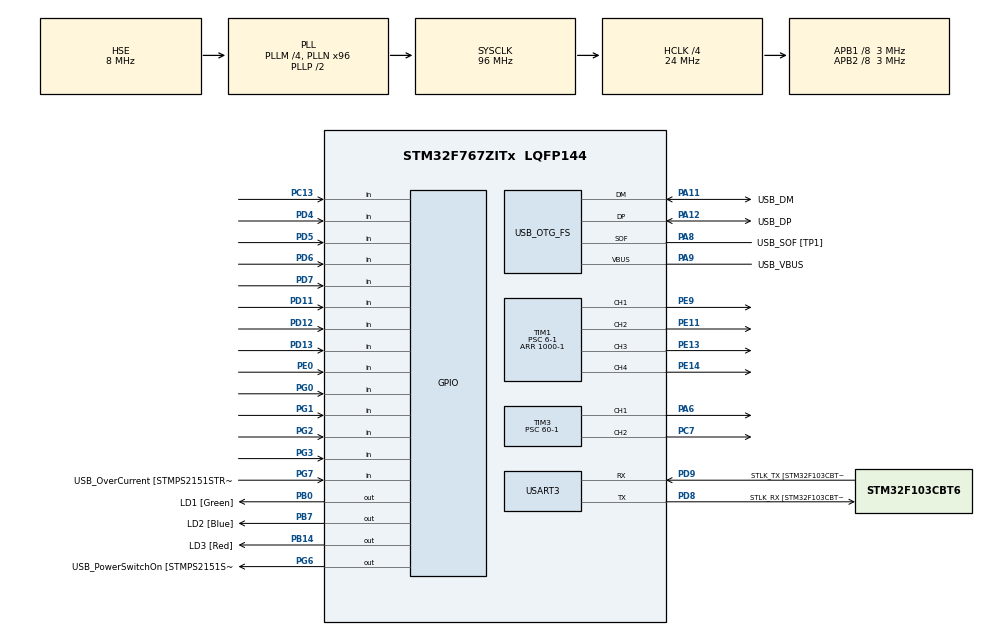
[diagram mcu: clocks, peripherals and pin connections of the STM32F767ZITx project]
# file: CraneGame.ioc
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FREERTOS.Tasks01=defaultTask,0,128,StartDefaultTask,Default,NULL,Dynamic,NULL,NULL
Mcu.Family=STM32F7
Mcu.Name=STM32F767ZITx
Mcu.Package=LQFP144
NVIC.PriorityGroup=NVIC_PRIORITYGROUP_4
NVIC.TIM8_TRG_COM_TIM14_IRQn=true\:15\:0\:false\:false\:true\:false\:false\:true\:true
NVIC.TimeBase=TIM8_TRG_COM_TIM14_IRQn
NVIC.TimeBaseIP=TIM14
PA1.GPIO_Label=RMII_REF_CLK [LAN8742A-CZ-TR_REFCLK0]
PA1.Signal=ETH_REF_CLK
PA10.GPIO_Label=USB_ID
PA10.Signal=USB_OTG_FS_ID
PA11.GPIO_Label=USB_DM
PA11.Mode=Device_Only
PA11.Signal=USB_OTG_FS_DM
PA12.GPIO_Label=USB_DP
PA12.Mode=Device_Only
PA12.Signal=USB_OTG_FS_DP
PA13.GPIO_Label=TMS
PA13.Mode=Serial_Wire
PA13.Signal=SYS_JTMS-SWDIO
PA14.GPIO_Label=TCK
PA14.Mode=Serial_Wire
PA14.Signal=SYS_JTCK-SWCLK
PA2.GPIO_Label=RMII_MDIO [LAN8742A-CZ-TR_MDIO]
PA2.Signal=ETH_MDIO
PA6.Signal=S_TIM3_CH1
PA7.GPIO_Label=RMII_CRS_DV [LAN8742A-CZ-TR_CRS_DV]
PA7.Signal=ETH_CRS_DV
PA8.GPIO_Label=USB_SOF [TP1]
PA8.Mode=Activate_SOF_FS
PA8.Signal=USB_OTG_FS_SOF
PA9.GPIO_Label=USB_VBUS
PA9.Mode=Activate_VBUS
PA9.Signal=USB_OTG_FS_VBUS
PB0.GPIO_Label=LD1 [Green]
PB0.Signal=GPIO_Output
PB13.GPIO_Label=RMII_TXD1 [LAN8742A-CZ-TR_TXD1]
PB13.Signal=ETH_TXD1
PB14.GPIO_Label=LD3 [Red]
PB14.Signal=GPIO_Output
PB3.GPIO_Label=SWO
PB3.Signal=SYS_JTDO-SWO
PB7.GPIO_Label=LD2 [Blue]
PB7.Signal=GPIO_Output
PC1.GPIO_Label=RMII_MDC [LAN8742A-CZ-TR_MDC]
PC1.Signal=ETH_MDC
PC13.GPIO_PuPd=GPIO_PULLDOWN
PC13.Signal=GPIO_Input
PC14/OSC32_IN.Mode=LSE-External-Oscillator
PC14/OSC32_IN.Signal=RCC_OSC32_IN
PC15/OSC32_OUT.Mode=LSE-External-Oscillator
PC15/OSC32_OUT.Signal=RCC_OSC32_OUT
PC4.GPIO_Label=RMII_RXD0 [LAN8742A-CZ-TR_RXD0]
PC4.Signal=ETH_RXD0
PC5.GPIO_Label=RMII_RXD1 [LAN8742A-CZ-TR_RXD1]
PC5.Signal=ETH_RXD1
PC7.Signal=S_TIM3_CH2
PD11.GPIO_PuPd=GPIO_PULLDOWN
PD11.Signal=GPIO_Input
PD12.GPIO_PuPd=GPIO_PULLDOWN
PD12.Signal=GPIO_Input
PD13.GPIO_PuPd=GPIO_PULLDOWN
PD13.Signal=GPIO_Input
PD4.GPIO_PuPd=GPIO_PULLDOWN
PD4.Signal=GPIO_Input
PD5.GPIO_PuPd=GPIO_PULLDOWN
PD5.Signal=GPIO_Input
PD6.GPIO_PuPd=GPIO_PULLDOWN
PD6.Signal=GPIO_Input
PD7.GPIO_PuPd=GPIO_PULLDOWN
PD7.Signal=GPIO_Input
PD8.GPIO_Label=STLK_RX [STM32F103CBT6_PA3]
PD8.Mode=Asynchronous
PD8.Signal=USART3_TX
PD9.GPIO_Label=STLK_TX [STM32F103CBT6_PA2]
PD9.Mode=Asynchronous
PD9.Signal=USART3_RX
PE0.GPIO_PuPd=GPIO_PULLDOWN
PE0.Signal=GPIO_Input
PE11.Signal=S_TIM1_CH2
PE13.Signal=S_TIM1_CH3
PE14.Signal=S_TIM1_CH4
PE9.Signal=S_TIM1_CH1
PG0.GPIO_PuPd=GPIO_PULLDOWN
PG0.Signal=GPIO_Input
PG1.GPIO_PuPd=GPIO_PULLDOWN
PG1.Signal=GPIO_Input
PG11.GPIO_Label=RMII_TX_EN [LAN8742A-CZ-TR_TXEN]
PG11.Signal=ETH_TX_EN
PG13.GPIO_Label=RMII_TXD0 [LAN8742A-CZ-TR_TXD0]
PG13.Signal=ETH_TXD0
PG2.GPIO_PuPd=GPIO_PULLDOWN
PG2.Signal=GPIO_Input
PG3.GPIO_PuPd=GPIO_PULLDOWN
PG3.Signal=GPIO_Input
PG6.GPIO_Label=USB_PowerSwitchOn [STMPS2151STR_EN]
PG6.Signal=GPIO_Output
PG7.GPIO_Label=USB_OverCurrent [STMPS2151STR_FAULT]
PG7.Signal=GPIO_Input
PH0/OSC_IN.GPIO_Label=MCO [STM32F103CBT6_PA8]
PH0/OSC_IN.Mode=HSE-External-Clock-Source
PH0/OSC_IN.Signal=RCC_OSC_IN
PH1/OSC_OUT.Mode=HSE-External-Clock-Source
PH1/OSC_OUT.Signal=RCC_OSC_OUT
ProjectManager.HeapSize=0x200
ProjectManager.StackSize=0x400
ProjectManager.TargetToolchain=CMake
RCC.48MHZClocksFreq_Value=24000000
RCC.AHBCLKDivider=RCC_SYSCLK_DIV4
RCC.AHBFreq_Value=24000000
RCC.APB1CLKDivider=RCC_HCLK_DIV8
RCC.APB1Freq_Value=3000000
RCC.APB1TimFreq_Value=6000000
RCC.APB2CLKDivider=RCC_HCLK_DIV8
RCC.APB2Freq_Value=3000000
RCC.APB2TimFreq_Value=6000000
RCC.CortexFreq_Value=24000000
RCC.HCLKFreq_Value=24000000
RCC.HSE_VALUE=8000000
RCC.HSI_VALUE=16000000
RCC.PLLM=4
RCC.PLLMUL=RCC_PLL_MUL9
RCC.PLLN=96
RCC.PLLQ=4
RCC.PRESCALERUSB=RCC_USBCLKSOURCE_PLL_DIV1_5
RCC.SYSCLKFreq_VALUE=96000000
RCC.SYSCLKSource=RCC_SYSCLKSOURCE_PLLCLK
RCC.SYSCLKSourceVirtual=RCC_SYSCLKSOURCE_PLLCLK
RCC.USBFreq_Value=48000000
RCC.VCOOutputFreq_Value=192000000
SH.S_TIM1_CH1.0=TIM1_CH1,PWM Generation1 CH1
SH.S_TIM1_CH2.0=TIM1_CH2,PWM Generation2 CH2
SH.S_TIM1_CH3.0=TIM1_CH3,PWM Generation3 CH3
SH.S_TIM1_CH4.0=TIM1_CH4,PWM Generation4 CH4
SH.S_TIM3_CH1.0=TIM3_CH1,PWM Generation1 CH1
SH.S_TIM3_CH2.0=TIM3_CH2,PWM Generation2 CH2
TIM1.Channel-PWM\ Generation1\ CH1=TIM_CHANNEL_1
TIM1.Channel-PWM\ Generation2\ CH2=TIM_CHANNEL_2
TIM1.Channel-PWM\ Generation3\ CH3=TIM_CHANNEL_3
TIM1.Channel-PWM\ Generation4\ CH4=TIM_CHANNEL_4
TIM1.Period=1000-1
TIM1.Prescaler=6-1
TIM3.Channel-PWM\ Generation1\ CH1=TIM_CHANNEL_1
TIM3.Channel-PWM\ Generation2\ CH2=TIM_CHANNEL_2
TIM3.Period=2000-1
TIM3.Prescaler=60-1
USART3.VirtualMode-Asynchronous=VM_ASYNC
USB_OTG_FS.VirtualMode=Device_Only
VP_FREERTOS_VS_CMSIS_V1.Mode=CMSIS_V1
VP_SYS_VS_tim14.Mode=TIM14
board=NUCLEO-F767ZI

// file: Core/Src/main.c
/* USER CODE BEGIN Header */
/**
  ******************************************************************************
  * @file           : main.c
  * @brief          : Main program body
  ******************************************************************************
  * @attention
  *
  * Copyright (c) 2024 STMicroelectronics.
  * All rights reserved.
  *
  * This software is licensed under terms that can be found in the LICENSE file
  * in the root directory of this software component.
  * If no LICENSE file comes with this software, it is provided AS-IS.
  *
  ******************************************************************************
  */
/* USER CODE END Header */
#include "main.h"
#include "cmsis_os.h"

/* USER CODE BEGIN Includes */
#include "myutils.h"
/* USER CODE END Includes */

TIM_HandleTypeDef htim1;
TIM_HandleTypeDef htim3;

UART_HandleTypeDef huart3;

PCD_HandleTypeDef hpcd_USB_OTG_FS;

osThreadId defaultTaskHandle;
/* USER CODE BEGIN PV */

unsigned long* XDC_PWM_CCR;
unsigned long* YDC_PWM_CCR;
unsigned long* ZDC_PWM_CCR;
unsigned long* SERVO_PWM_CCR;

/* USER CODE END PV */

void SystemClock_Config(void);
static void MX_GPIO_Init(void);
static void MX_USART3_UART_Init(void);
static void MX_USB_OTG_FS_PCD_Init(void);
static void MX_TIM1_Init(void);
static void MX_TIM3_Init(void);
void StartDefaultTask(void const * argument);

/* USER CODE BEGIN 0 */
EventGroupHandle_t task_event;

typedef enum {
  flag_RUN_ARM_CONTROL = 0x1,
  flag_RUN_ARM_DOWN    = 0x2,
  flag_RUN_CATCHING    = 0x4,
  flag_RUN_ARM_UP      = 0x8,
  flag_RUN_RETURN_Y    = 0x10,
  flag_RUN_RETURN_X    = 0x20,
  flag_RUN_RELEASE     = 0x40,
  flag_SUSPEND         = 0x80,
} task_flag_t;

#define CCR_STOP    500
#define CCR_X_RIGHT 650
#define CCR_X_LEFT  350
#define CCR_Y_BACK  850
#define CCR_Y_FRONT 150
#define CCR_Z_UP    100
#define CCR_Z_DOWN  900
#define CCR_CATCH   150
#define CCR_RELEASE 200

void task_suspend(void *param) {
  for (;;) {
    xEventGroupWaitBits(task_event, flag_SUSPEND, pdTRUE, pdTRUE, portMAX_DELAY);
    vTaskDelay(100);

    set_PWM_CCR(XDC_PWM_CCR, CCR_STOP);
    set_PWM_CCR(YDC_PWM_CCR, CCR_STOP);
    set_PWM_CCR(ZDC_PWM_CCR, CCR_STOP);
    set_task_led(flag_SUSPEND); // Debug LED setting

    set_PWM_CCR(SERVO_PWM_CCR, CCR_RELEASE);

    for (;;) {
      vTaskDelay(50);

      // change task
      if (HAL_GPIO_ReadPin(GPIOD, GPIO_PIN_13) == GPIO_PIN_SET) {
        xEventGroupSetBits(task_event, flag_RUN_ARM_CONTROL);
        break;
      }
    }
  }
}

void task_arm_control(void *param) {
  uint8_t input_back  = 0;
  uint8_t input_front = 0;
  uint8_t input_right = 0;
  uint8_t input_left  = 0;

  uint8_t x_plus_limit  = 0;
  uint8_t x_minus_limit = 0;
  uint8_t y_plus_limit  = 0;
  uint8_t y_minus_limit = 0;

  for (;;) {
    xEventGroupWaitBits(task_event, flag_RUN_ARM_CONTROL, pdTRUE, pdTRUE, portMAX_DELAY);
    vTaskDelay(100);

    set_task_led(flag_RUN_ARM_CONTROL);

    for (;;) {
      // X-Y axis limit vals
      x_plus_limit  = HAL_GPIO_ReadPin(GPIOD, GPIO_PIN_4);
      x_minus_limit = HAL_GPIO_ReadPin(GPIOD, GPIO_PIN_5);
      y_plus_limit  = HAL_GPIO_ReadPin(GPIOD, GPIO_PIN_6);
      y_minus_limit = HAL_GPIO_ReadPin(GPIOD, GPIO_PIN_7);

      // Stick switch input
      input_back  = HAL_GPIO_ReadPin(GPIOG, GPIO_PIN_0);
      input_front = HAL_GPIO_ReadPin(GPIOG, GPIO_PIN_1);
      input_right = HAL_GPIO_ReadPin(GPIOG, GPIO_PIN_2);
      input_left  = HAL_GPIO_ReadPin(GPIOG, GPIO_PIN_3);

      // X-DC control
      if (!x_plus_limit && input_right) {
        set_PWM_CCR(XDC_PWM_CCR, CCR_X_RIGHT);
      }
      else if (!x_minus_limit && input_left) {
        set_PWM_CCR(XDC_PWM_CCR, CCR_X_LEFT);
      }
      else {
        set_PWM_CCR(XDC_PWM_CCR, CCR_STOP);
      }

      // Y-DC control
      if (!y_plus_limit && input_back) {
        set_PWM_CCR(YDC_PWM_CCR, CCR_Y_BACK);
      }
      else if (!y_minus_limit && input_front) {
        set_PWM_CCR(YDC_PWM_CCR, CCR_Y_FRONT);
      }
      else {
        set_PWM_CCR(YDC_PWM_CCR, CCR_STOP);
      }

      vTaskDelay(50);

      if (HAL_GPIO_ReadPin(GPIOE, GPIO_PIN_0) == GPIO_PIN_SET) {
        xEventGroupSetBits(task_event, flag_RUN_ARM_DOWN);
        set_PWM_CCR(XDC_PWM_CCR, CCR_STOP);
        set_PWM_CCR(YDC_PWM_CCR, CCR_STOP);
        break;
      }
    }
  }
}

void task_arm_down(void *param) {
  for (;;) {
    xEventGroupWaitBits(task_event, flag_RUN_ARM_DOWN, pdTRUE, pdTRUE, portMAX_DELAY);
    vTaskDelay(100);
    set_task_led(flag_RUN_ARM_DOWN);

    vTaskDelay(1000);

    for (;;) {
      vTaskDelay(50);

      set_PWM_CCR(ZDC_PWM_CCR, CCR_Z_DOWN);

      if (HAL_GPIO_ReadPin(GPIOD, GPIO_PIN_12) == GPIO_PIN_SET) {
        set_PWM_CCR(ZDC_PWM_CCR, CCR_STOP);
        xEventGroupSetBits(task_event, flag_RUN_CATCHING);
        break;
      }
    }
  }
}

void task_catching(void *param) {
  for (;;) {
    xEventGroupWaitBits(task_event, flag_RUN_CATCHING, pdTRUE, pdTRUE, portMAX_DELAY);
    vTaskDelay(100);
    set_task_led(flag_RUN_CATCHING);

    vTaskDelay(1000);

    for (;;) {
      vTaskDelay(50);

      set_PWM_CCR(SERVO_PWM_CCR, CCR_CATCH);
      vTaskDelay(1500);

      xEventGroupSetBits(task_event, flag_RUN_ARM_UP);
      break;
    }
  }
}

void task_arm_up(void *param) {
  for (;;) {
    xEventGroupWaitBits(task_event, flag_RUN_ARM_UP, pdTRUE, pdTRUE, portMAX_DELAY);
    vTaskDelay(100);
    set_task_led(flag_RUN_ARM_UP);

    vTaskDelay(1000);

    for (;;) {
      vTaskDelay(50);

      set_PWM_CCR(ZDC_PWM_CCR, CCR_Z_UP);

      if (HAL_GPIO_ReadPin(GPIOD, GPIO_PIN_11) == GPIO_PIN_SET) {
        set_PWM_CCR(ZDC_PWM_CCR, CCR_STOP);
        xEventGroupSetBits(task_event, flag_RUN_RETURN_Y);
        break;
      }
    }
  }
}

void task_returnY(void *param) {
  for (;;) {
    xEventGroupWaitBits(task_event, flag_RUN_RETURN_Y, pdTRUE, pdTRUE, portMAX_DELAY);
    vTaskDelay(100);
    set_task_led(flag_RUN_RETURN_Y);

    vTaskDelay(1000);

    for (;;) {
      vTaskDelay(50);

      set_PWM_CCR(YDC_PWM_CCR, CCR_Y_FRONT);

      if (HAL_GPIO_ReadPin(GPIOD, GPIO_PIN_7) == GPIO_PIN_SET) {
        set_PWM_CCR(YDC_PWM_CCR, CCR_STOP);
        xEventGroupSetBits(task_event, flag_RUN_RETURN_X);
        break;
      }
    }
  }
}

void task_returnX(void *param) {
  for (;;) {
    xEventGroupWaitBits(task_event, flag_RUN_RETURN_X, pdTRUE, pdTRUE, portMAX_DELAY);
    vTaskDelay(100);
    set_task_led(flag_RUN_RETURN_X);

    vTaskDelay(1000);

    for (;;) {
      vTaskDelay(50);

      set_PWM_CCR(XDC_PWM_CCR, CCR_X_LEFT);

      if (HAL_GPIO_ReadPin(GPIOD, GPIO_PIN_5) == GPIO_PIN_SET) {
        set_PWM_CCR(XDC_PWM_CCR, CCR_STOP);
        xEventGroupSetBits(task_event, flag_RUN_RELEASE);
        break;
      }
    }
  }
}

void task_release(void *param) {
  for (;;) {
    xEventGroupWaitBits(task_event, flag_RUN_RELEASE, pdTRUE, pdTRUE, portMAX_DELAY);
    vTaskDelay(100);
    set_task_led(flag_RUN_RELEASE);

    vTaskDelay(1000);

    for (;;) {
      vTaskDelay(50);

      set_PWM_CCR(SERVO_PWM_CCR, CCR_RELEASE);

      if (HAL_GPIO_ReadPin(GPIOD, GPIO_PIN_13) == GPIO_PIN_SET) {
        xEventGroupSetBits(task_event, flag_SUSPEND);
        break;
      }
    }
  }
}

/* USER CODE END 0 */

int main(void)
{

  /* MCU Configuration--------------------------------------------------------*/

  /* Reset of all peripherals, Initializes the Flash interface and the Systick. */
  HAL_Init();

  /* Configure the system clock */
  SystemClock_Config();

  /* Initialize all configured peripherals */
  MX_GPIO_Init();
  MX_USART3_UART_Init();
  MX_USB_OTG_FS_PCD_Init();
  MX_TIM1_Init();
  MX_TIM3_Init();
  /* USER CODE BEGIN 2 */

  /* PWM Init */
  HAL_TIM_PWM_Start(&htim1, TIM_CHANNEL_1);
  HAL_TIM_PWM_Start(&htim1, TIM_CHANNEL_2);
  HAL_TIM_PWM_Start(&htim1, TIM_CHANNEL_3);
  HAL_TIM_PWM_Start(&htim1, TIM_CHANNEL_4);

  HAL_TIM_PWM_Start(&htim3, TIM_CHANNEL_1);

  /* Get Pointer of CCR Resister */
  XDC_PWM_CCR = (unsigned long *)&(htim1.Instance->CCR1);
  YDC_PWM_CCR = (unsigned long *)&(htim1.Instance->CCR2);
  ZDC_PWM_CCR = (unsigned long *)&(htim1.Instance->CCR3);
  SERVO_PWM_CCR = (unsigned long *)&(htim3.Instance->CCR1);

  /* RTOS Task Init */
  task_event = xEventGroupCreate();
  xEventGroupSetBits(task_event, flag_SUSPEND);

  xTaskCreate(task_suspend, "suspend", 128, NULL, 1, NULL);
  xTaskCreate(task_arm_control, "arm_control", 128, NULL, 1, NULL);
  xTaskCreate(task_arm_down, "arm_down", 128, NULL, 1, NULL);
  xTaskCreate(task_catching, "catching", 128, NULL, 1, NULL);
  xTaskCreate(task_arm_up, "arm_up", 128, NULL, 1, NULL);
  xTaskCreate(task_returnY, "returnY", 128, NULL, 1, NULL);
  xTaskCreate(task_returnX, "returnX", 128, NULL, 1, NULL);
  xTaskCreate(task_release, "release", 128, NULL, 1, NULL);

  vTaskStartScheduler();

  /* USER CODE END 2 */

  /* Create the thread(s) */
  /* definition and creation of defaultTask */
  osThreadDef(defaultTask, StartDefaultTask, osPriorityNormal, 0, 128);
  defaultTaskHandle = osThreadCreate(osThread(defaultTask), NULL);

  /* Start scheduler */
  osKernelStart();

  /* We should never get here as control is now taken by the scheduler */

  /* Infinite loop */
  while (1)
  {

    /* USER CODE BEGIN 3 */
    // state1 = HAL_GPIO_ReadPin(GPIOG, GPIO_PIN_0);
    // state2 = HAL_GPIO_ReadPin(GPIOG, GPIO_PIN_1);

    // if (state1 == GPIO_PIN_SET) {
    //   HAL_GPIO_WritePin(GPIOB, GPIO_PIN_7, 1);
    // }
    // else {
    //   HAL_GPIO_WritePin(GPIOB, GPIO_PIN_7, 0);
    // }

    // if (state2 == GPIO_PIN_SET) {
    //   HAL_GPIO_WritePin(GPIOB, GPIO_PIN_14, 1);
    // }
    // else {
    //   HAL_GPIO_WritePin(GPIOB, GPIO_PIN_14, 0);
    // }

    HAL_Delay(50);
  }
  /* USER CODE END 3 */
}

void SystemClock_Config(void)
{
  RCC_OscInitTypeDef RCC_OscInitStruct = {0};
  RCC_ClkInitTypeDef RCC_ClkInitStruct = {0};

  /** Configure LSE Drive Capability
  */
  HAL_PWR_EnableBkUpAccess();

  /** Configure the main internal regulator output voltage
  */
  __HAL_RCC_PWR_CLK_ENABLE();
  __HAL_PWR_VOLTAGESCALING_CONFIG(PWR_REGULATOR_VOLTAGE_SCALE3);

  /** Initializes the RCC Oscillators according to the specified parameters
  * in the RCC_OscInitTypeDef structure.
  */
  RCC_OscInitStruct.OscillatorType = RCC_OSCILLATORTYPE_HSE;
  RCC_OscInitStruct.HSEState = RCC_HSE_BYPASS;
  RCC_OscInitStruct.PLL.PLLState = RCC_PLL_ON;
  RCC_OscInitStruct.PLL.PLLSource = RCC_PLLSOURCE_HSE;
  RCC_OscInitStruct.PLL.PLLM = 4;
  RCC_OscInitStruct.PLL.PLLN = 96;
  RCC_OscInitStruct.PLL.PLLP = RCC_PLLP_DIV2;
  RCC_OscInitStruct.PLL.PLLQ = 4;
  RCC_OscInitStruct.PLL.PLLR = 2;
  if (HAL_RCC_OscConfig(&RCC_OscInitStruct) != HAL_OK)
  {
    Error_Handler();
  }

  /** Initializes the CPU, AHB and APB buses clocks
  */
  RCC_ClkInitStruct.ClockType = RCC_CLOCKTYPE_HCLK|RCC_CLOCKTYPE_SYSCLK
                              |RCC_CLOCKTYPE_PCLK1|RCC_CLOCKTYPE_PCLK2;
  RCC_ClkInitStruct.SYSCLKSource = RCC_SYSCLKSOURCE_PLLCLK;
  RCC_ClkInitStruct.AHBCLKDivider = RCC_SYSCLK_DIV4;
  RCC_ClkInitStruct.APB1CLKDivider = RCC_HCLK_DIV8;
  RCC_ClkInitStruct.APB2CLKDivider = RCC_HCLK_DIV8;

  if (HAL_RCC_ClockConfig(&RCC_ClkInitStruct, FLASH_LATENCY_0) != HAL_OK)
  {
    Error_Handler();
  }
}

static void MX_TIM1_Init(void)
{

  TIM_MasterConfigTypeDef sMasterConfig = {0};
  TIM_OC_InitTypeDef sConfigOC = {0};
  TIM_BreakDeadTimeConfigTypeDef sBreakDeadTimeConfig = {0};

  htim1.Instance = TIM1;
  htim1.Init.Prescaler = 6-1;
  htim1.Init.CounterMode = TIM_COUNTERMODE_UP;
  htim1.Init.Period = 1000-1;
  htim1.Init.ClockDivision = TIM_CLOCKDIVISION_DIV1;
  htim1.Init.RepetitionCounter = 0;
  htim1.Init.AutoReloadPreload = TIM_AUTORELOAD_PRELOAD_DISABLE;
  if (HAL_TIM_PWM_Init(&htim1) != HAL_OK)
  {
    Error_Handler();
  }
  sMasterConfig.MasterOutputTrigger = TIM_TRGO_RESET;
  sMasterConfig.MasterOutputTrigger2 = TIM_TRGO2_RESET;
  sMasterConfig.MasterSlaveMode = TIM_MASTERSLAVEMODE_DISABLE;
  if (HAL_TIMEx_MasterConfigSynchronization(&htim1, &sMasterConfig) != HAL_OK)
  {
    Error_Handler();
  }
  sConfigOC.OCMode = TIM_OCMODE_PWM1;
  sConfigOC.Pulse = 0;
  sConfigOC.OCPolarity = TIM_OCPOLARITY_HIGH;
  sConfigOC.OCNPolarity = TIM_OCNPOLARITY_HIGH;
  sConfigOC.OCFastMode = TIM_OCFAST_DISABLE;
  sConfigOC.OCIdleState = TIM_OCIDLESTATE_RESET;
  sConfigOC.OCNIdleState = TIM_OCNIDLESTATE_RESET;
  if (HAL_TIM_PWM_ConfigChannel(&htim1, &sConfigOC, TIM_CHANNEL_1) != HAL_OK)
  {
    Error_Handler();
  }
  if (HAL_TIM_PWM_ConfigChannel(&htim1, &sConfigOC, TIM_CHANNEL_2) != HAL_OK)
  {
    Error_Handler();
  }
  if (HAL_TIM_PWM_ConfigChannel(&htim1, &sConfigOC, TIM_CHANNEL_3) != HAL_OK)
  {
    Error_Handler();
  }
  if (HAL_TIM_PWM_ConfigChannel(&htim1, &sConfigOC, TIM_CHANNEL_4) != HAL_OK)
  {
    Error_Handler();
  }
  sBreakDeadTimeConfig.OffStateRunMode = TIM_OSSR_DISABLE;
  sBreakDeadTimeConfig.OffStateIDLEMode = TIM_OSSI_DISABLE;
  sBreakDeadTimeConfig.LockLevel = TIM_LOCKLEVEL_OFF;
  sBreakDeadTimeConfig.DeadTime = 0;
  sBreakDeadTimeConfig.BreakState = TIM_BREAK_DISABLE;
  sBreakDeadTimeConfig.BreakPolarity = TIM_BREAKPOLARITY_HIGH;
  sBreakDeadTimeConfig.BreakFilter = 0;
  sBreakDeadTimeConfig.Break2State = TIM_BREAK2_DISABLE;
  sBreakDeadTimeConfig.Break2Polarity = TIM_BREAK2POLARITY_HIGH;
  sBreakDeadTimeConfig.Break2Filter = 0;
  sBreakDeadTimeConfig.AutomaticOutput = TIM_AUTOMATICOUTPUT_DISABLE;
  if (HAL_TIMEx_ConfigBreakDeadTime(&htim1, &sBreakDeadTimeConfig) != HAL_OK)
  {
    Error_Handler();
  }
  HAL_TIM_MspPostInit(&htim1);

}

static void MX_TIM3_Init(void)
{

  TIM_MasterConfigTypeDef sMasterConfig = {0};
  TIM_OC_InitTypeDef sConfigOC = {0};

  htim3.Instance = TIM3;
  htim3.Init.Prescaler = 60-1;
  htim3.Init.CounterMode = TIM_COUNTERMODE_UP;
  htim3.Init.Period = 2000-1;
  htim3.Init.ClockDivision = TIM_CLOCKDIVISION_DIV1;
  htim3.Init.AutoReloadPreload = TIM_AUTORELOAD_PRELOAD_DISABLE;
  if (HAL_TIM_PWM_Init(&htim3) != HAL_OK)
  {
    Error_Handler();
  }
  sMasterConfig.MasterOutputTrigger = TIM_TRGO_RESET;
  sMasterConfig.MasterSlaveMode = TIM_MASTERSLAVEMODE_DISABLE;
  if (HAL_TIMEx_MasterConfigSynchronization(&htim3, &sMasterConfig) != HAL_OK)
  {
    Error_Handler();
  }
  sConfigOC.OCMode = TIM_OCMODE_PWM1;
  sConfigOC.Pulse = 0;
  sConfigOC.OCPolarity = TIM_OCPOLARITY_HIGH;
  sConfigOC.OCFastMode = TIM_OCFAST_DISABLE;
  if (HAL_TIM_PWM_ConfigChannel(&htim3, &sConfigOC, TIM_CHANNEL_1) != HAL_OK)
  {
    Error_Handler();
  }
  if (HAL_TIM_PWM_ConfigChannel(&htim3, &sConfigOC, TIM_CHANNEL_2) != HAL_OK)
  {
    Error_Handler();
  }
  HAL_TIM_MspPostInit(&htim3);

}

static void MX_USART3_UART_Init(void)
{

  huart3.Instance = USART3;
  huart3.Init.BaudRate = 115200;
  huart3.Init.WordLength = UART_WORDLENGTH_8B;
  huart3.Init.StopBits = UART_STOPBITS_1;
  huart3.Init.Parity = UART_PARITY_NONE;
  huart3.Init.Mode = UART_MODE_TX_RX;
  huart3.Init.HwFlowCtl = UART_HWCONTROL_NONE;
  huart3.Init.OverSampling = UART_OVERSAMPLING_16;
  huart3.Init.OneBitSampling = UART_ONE_BIT_SAMPLE_DISABLE;
  huart3.AdvancedInit.AdvFeatureInit = UART_ADVFEATURE_NO_INIT;
  if (HAL_UART_Init(&huart3) != HAL_OK)
  {
    Error_Handler();
  }

}

static void MX_USB_OTG_FS_PCD_Init(void)
{

  hpcd_USB_OTG_FS.Instance = USB_OTG_FS;
  hpcd_USB_OTG_FS.Init.dev_endpoints = 6;
  hpcd_USB_OTG_FS.Init.speed = PCD_SPEED_FULL;
  hpcd_USB_OTG_FS.Init.dma_enable = DISABLE;
  hpcd_USB_OTG_FS.Init.phy_itface = PCD_PHY_EMBEDDED;
  hpcd_USB_OTG_FS.Init.Sof_enable = ENABLE;
  hpcd_USB_OTG_FS.Init.low_power_enable = DISABLE;
  hpcd_USB_OTG_FS.Init.lpm_enable = DISABLE;
  hpcd_USB_OTG_FS.Init.vbus_sensing_enable = ENABLE;
  hpcd_USB_OTG_FS.Init.use_dedicated_ep1 = DISABLE;
  if (HAL_PCD_Init(&hpcd_USB_OTG_FS) != HAL_OK)
  {
    Error_Handler();
  }

}

static void MX_GPIO_Init(void)
{
  GPIO_InitTypeDef GPIO_InitStruct = {0};

  /* GPIO Ports Clock Enable */
  __HAL_RCC_GPIOC_CLK_ENABLE();
  __HAL_RCC_GPIOH_CLK_ENABLE();
  __HAL_RCC_GPIOA_CLK_ENABLE();
  __HAL_RCC_GPIOB_CLK_ENABLE();
  __HAL_RCC_GPIOG_CLK_ENABLE();
  __HAL_RCC_GPIOE_CLK_ENABLE();
  __HAL_RCC_GPIOD_CLK_ENABLE();

  /*Configure GPIO pin Output Level */
  HAL_GPIO_WritePin(GPIOB, LD1_Pin|LD3_Pin|LD2_Pin, GPIO_PIN_RESET);

  /*Configure GPIO pin Output Level */
  HAL_GPIO_WritePin(USB_PowerSwitchOn_GPIO_Port, USB_PowerSwitchOn_Pin, GPIO_PIN_RESET);

  /*Configure GPIO pin : PC13 */
  GPIO_InitStruct.Pin = GPIO_PIN_13;
  GPIO_InitStruct.Mode = GPIO_MODE_INPUT;
  GPIO_InitStruct.Pull = GPIO_PULLDOWN;
  HAL_GPIO_Init(GPIOC, &GPIO_InitStruct);

  /*Configure GPIO pins : RMII_MDC_Pin RMII_RXD0_Pin RMII_RXD1_Pin */
  GPIO_InitStruct.Pin = RMII_MDC_Pin|RMII_RXD0_Pin|RMII_RXD1_Pin;
  GPIO_InitStruct.Mode = GPIO_MODE_AF_PP;
  GPIO_InitStruct.Pull = GPIO_NOPULL;
  GPIO_InitStruct.Speed = GPIO_SPEED_FREQ_VERY_HIGH;
  GPIO_InitStruct.Alternate = GPIO_AF11_ETH;
  HAL_GPIO_Init(GPIOC, &GPIO_InitStruct);

  /*Configure GPIO pins : RMII_REF_CLK_Pin RMII_MDIO_Pin RMII_CRS_DV_Pin */
  GPIO_InitStruct.Pin = RMII_REF_CLK_Pin|RMII_MDIO_Pin|RMII_CRS_DV_Pin;
  GPIO_InitStruct.Mode = GPIO_MODE_AF_PP;
  GPIO_InitStruct.Pull = GPIO_NOPULL;
  GPIO_InitStruct.Speed = GPIO_SPEED_FREQ_VERY_HIGH;
  GPIO_InitStruct.Alternate = GPIO_AF11_ETH;
  HAL_GPIO_Init(GPIOA, &GPIO_InitStruct);

  /*Configure GPIO pins : LD1_Pin LD3_Pin LD2_Pin */
  GPIO_InitStruct.Pin = LD1_Pin|LD3_Pin|LD2_Pin;
  GPIO_InitStruct.Mode = GPIO_MODE_OUTPUT_PP;
  GPIO_InitStruct.Pull = GPIO_NOPULL;
  GPIO_InitStruct.Speed = GPIO_SPEED_FREQ_LOW;
  HAL_GPIO_Init(GPIOB, &GPIO_InitStruct);

  /*Configure GPIO pins : PG0 PG1 PG2 PG3 */
  GPIO_InitStruct.Pin = GPIO_PIN_0|GPIO_PIN_1|GPIO_PIN_2|GPIO_PIN_3;
  GPIO_InitStruct.Mode = GPIO_MODE_INPUT;
  GPIO_InitStruct.Pull = GPIO_PULLDOWN;
  HAL_GPIO_Init(GPIOG, &GPIO_InitStruct);

  /*Configure GPIO pin : RMII_TXD1_Pin */
  GPIO_InitStruct.Pin = RMII_TXD1_Pin;
  GPIO_InitStruct.Mode = GPIO_MODE_AF_PP;
  GPIO_InitStruct.Pull = GPIO_NOPULL;
  GPIO_InitStruct.Speed = GPIO_SPEED_FREQ_VERY_HIGH;
  GPIO_InitStruct.Alternate = GPIO_AF11_ETH;
  HAL_GPIO_Init(RMII_TXD1_GPIO_Port, &GPIO_InitStruct);

  /*Configure GPIO pins : PD11 PD12 PD13 PD4
                           PD5 PD6 PD7 */
  GPIO_InitStruct.Pin = GPIO_PIN_11|GPIO_PIN_12|GPIO_PIN_13|GPIO_PIN_4
                          |GPIO_PIN_5|GPIO_PIN_6|GPIO_PIN_7;
  GPIO_InitStruct.Mode = GPIO_MODE_INPUT;
  GPIO_InitStruct.Pull = GPIO_PULLDOWN;
  HAL_GPIO_Init(GPIOD, &GPIO_InitStruct);

  /*Configure GPIO pin : USB_PowerSwitchOn_Pin */
  GPIO_InitStruct.Pin = USB_PowerSwitchOn_Pin;
  GPIO_InitStruct.Mode = GPIO_MODE_OUTPUT_PP;
  GPIO_InitStruct.Pull = GPIO_NOPULL;
  GPIO_InitStruct.Speed = GPIO_SPEED_FREQ_LOW;
  HAL_GPIO_Init(USB_PowerSwitchOn_GPIO_Port, &GPIO_InitStruct);

  /*Configure GPIO pin : USB_OverCurrent_Pin */
  GPIO_InitStruct.Pin = USB_OverCurrent_Pin;
  GPIO_InitStruct.Mode = GPIO_MODE_INPUT;
  GPIO_InitStruct.Pull = GPIO_NOPULL;
  HAL_GPIO_Init(USB_OverCurrent_GPIO_Port, &GPIO_InitStruct);

  /*Configure GPIO pins : RMII_TX_EN_Pin RMII_TXD0_Pin */
  GPIO_InitStruct.Pin = RMII_TX_EN_Pin|RMII_TXD0_Pin;
  GPIO_InitStruct.Mode = GPIO_MODE_AF_PP;
  GPIO_InitStruct.Pull = GPIO_NOPULL;
  GPIO_InitStruct.Speed = GPIO_SPEED_FREQ_VERY_HIGH;
  GPIO_InitStruct.Alternate = GPIO_AF11_ETH;
  HAL_GPIO_Init(GPIOG, &GPIO_InitStruct);

  /*Configure GPIO pin : PE0 */
  GPIO_InitStruct.Pin = GPIO_PIN_0;
  GPIO_InitStruct.Mode = GPIO_MODE_INPUT;
  GPIO_InitStruct.Pull = GPIO_PULLDOWN;
  HAL_GPIO_Init(GPIOE, &GPIO_InitStruct);

}

void StartDefaultTask(void const * argument)
{
  /* USER CODE BEGIN 5 */
//   /* Infinite loop */
//   for(;;)
//   {
//     func1();
//     osDelay(50);
//   }
  /* USER CODE END 5 */
}

void HAL_TIM_PeriodElapsedCallback(TIM_HandleTypeDef *htim)
{
  if (htim->Instance == TIM14) {
    HAL_IncTick();
  }
}

void Error_Handler(void)
{
  __disable_irq();
  while (1)
  {
  }
}
